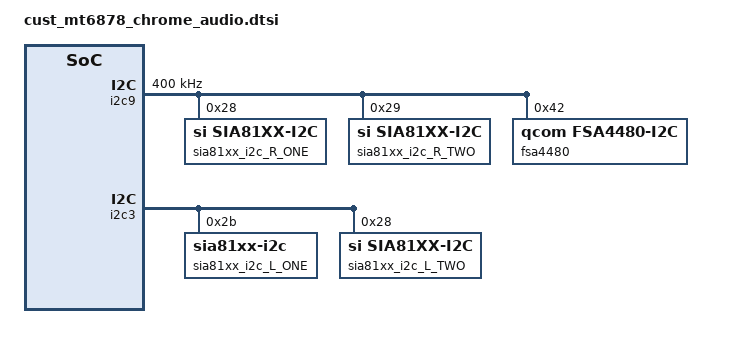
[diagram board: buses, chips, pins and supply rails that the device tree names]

/* Copyright (c) 2018, The Linux Foundation. All rights reserved.
 *
 * This program is free software; you can redistribute it and/or modify
 * it under the terms of the GNU General Public License version 2 and
 * only version 2 as published by the Free Software Foundation.
 *
 * This program is distributed in the hope that it will be useful,
 * but WITHOUT ANY WARRANTY; without even the implied warranty of
 * MERCHANTABILITY or FITNESS FOR A PARTICULAR PURPOSE.  See the
 * GNU General Public License for more details.
 */

&odm {
	si_pa_L_ONE: si_pa_L_ONE{
		compatible = "si,sia81xx";
		si,si_pa_type = "sia8152x";
		si,si_pa_disable_pin = <1>;
		channel_num = <0>;
	};
	si_pa_L_TWO: si_pa_L_TWO{
		compatible = "si,sia81xx";
		si,si_pa_type = "sia8152x";
		si,si_pa_disable_pin = <1>;
		channel_num = <2>;
	};
	si_pa_R_ONE: si_pa_R_ONE{
		compatible = "si,sia81xx";
		si,si_pa_type = "sia8152x";
		si,si_pa_disable_pin = <1>;
		channel_num = <1>;
	};
	si_pa_R_TWO: si_pa_R_TWO{
		compatible = "si,sia81xx";
		si,si_pa_type = "sia8152x";
		si,si_pa_disable_pin = <1>;
		channel_num = <3>;
	};
};



&i2c9 {
	#address-cells = <1>;
	#size-cells = <0>;
	status = "okay";
	clock-frequency = <400000>;
	mediatek,use-open-drain;

	sia81xx_i2c_R_ONE: sia81xx_i2c_R_ONE@28 {
		compatible = "si,sia81xx-i2c";
		reg = <0x28>;
		si,sipa-dev = <&si_pa_R_ONE>;
	};
	sia81xx_i2c_R_TWO: sia81xx_i2c_R_TWO@29 {
		compatible = "si,sia81xx-i2c";
		reg = <0x29>;
		si,sipa-dev = <&si_pa_R_TWO>;
	};

	fsa4480: fsa4480@42 {
		compatible = "qcom,fsa4480-i2c";
		reg = <0x42>;
		fsa4480,hp-bypass = <1>;
		fsa4480,hp-det-flag;
		status = "okay";
	};
};

&i2c3 {
	status = "okay";
	sia81xx_i2c_L_ONE: sia81xx_i2c_L_ONE@2B {
		compatible = "sia81xx-i2c";
		reg = <0x2B>;
		si,sipa-dev = <&si_pa_L_ONE>;
	};
	sia81xx_i2c_L_TWO: sia81xx_i2c_L_TWO@28 {
		compatible = "si,sia81xx-i2c";
		reg = <0x28>;
		si,sipa-dev = <&si_pa_L_TWO>;
	};
};

&sound {
	si,sia81xx-max-num = <4>;
	si,sia81xx-aux-devs = <&si_pa_L_ONE>,<&si_pa_R_ONE>,<&si_pa_L_TWO>,<&si_pa_R_TWO>;
	si,sia81xx-aux-devs-prefix = "SpkrLeftONE","SpkrRightONE","SpkrLeftTWO","SpkrRightTWO";
	si,is_analog_pa = <1>;
	oplus,special-pa-dapm = <1>;
};

&accdet {
	headset-three-key-threshold = <0 82 170 306>;
	headset-eint0-disable = <1>;
	typec_switch_type = <2>;
};

&mt6369codec {
	oplus,vow-mic-pga-gain = <4>;
};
